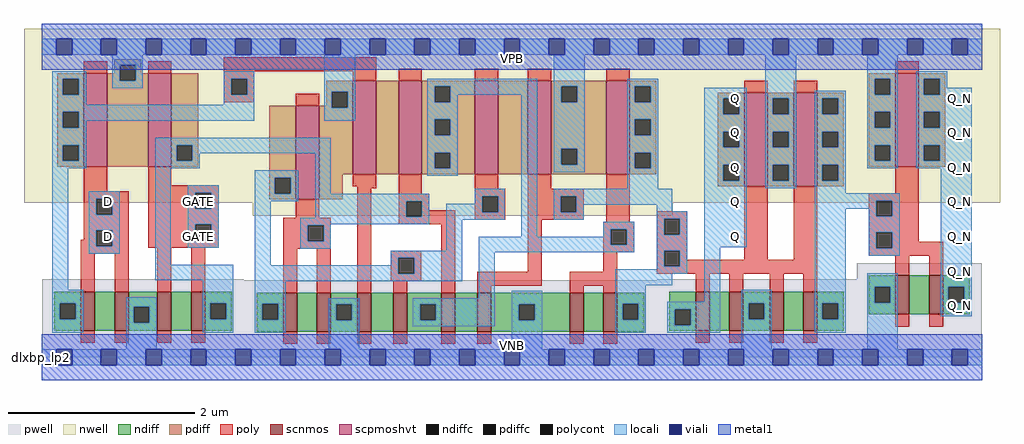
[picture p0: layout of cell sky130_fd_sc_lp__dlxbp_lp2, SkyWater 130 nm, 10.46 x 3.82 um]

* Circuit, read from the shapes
.subckt sky130_fd_sc_lp__dlxbp_lp2 D GATE VGND VNB VPB VPWR Q Q_N
XM1 n1 D n2 VNB sky130_fd_pr__nfet_01v8 w=0.42 l=0.15
XM2 VGND D n1 VNB sky130_fd_pr__nfet_01v8 w=0.42 l=0.15
XM3 n3 GATE VGND VNB sky130_fd_pr__nfet_01v8 w=0.42 l=0.15
XM4 n4 GATE n3 VNB sky130_fd_pr__nfet_01v8 w=0.42 l=0.15
XM5 n5 n4 n6 VNB sky130_fd_pr__nfet_01v8 w=0.42 l=0.15
XM6 VGND n4 n5 VNB sky130_fd_pr__nfet_01v8 w=0.42 l=0.15
XM7 n7 n2 VGND VNB sky130_fd_pr__nfet_01v8 w=0.42 l=0.15
XM8 n8 n6 n7 VNB sky130_fd_pr__nfet_01v8 w=0.42 l=0.15
XM9 n9 n4 n8 VNB sky130_fd_pr__nfet_01v8 w=0.42 l=0.15
XM10 VGND n10 n9 VNB sky130_fd_pr__nfet_01v8 w=0.42 l=0.15
XM11 n11 n8 VGND VNB sky130_fd_pr__nfet_01v8 w=0.42 l=0.15
XM12 n10 n8 n11 VNB sky130_fd_pr__nfet_01v8 w=0.42 l=0.15
XM13 n12 n10 Q VNB sky130_fd_pr__nfet_01v8 w=0.42 l=0.15
XM14 VGND n10 n12 VNB sky130_fd_pr__nfet_01v8 w=0.42 l=0.15
XM15 n13 n10 VGND VNB sky130_fd_pr__nfet_01v8 w=0.42 l=0.15
XM16 n14 n10 n13 VNB sky130_fd_pr__nfet_01v8 w=0.42 l=0.15
XM17 n15 n14 VGND VNB sky130_fd_pr__nfet_01v8 w=0.42 l=0.15
XM18 Q_N n14 n15 VNB sky130_fd_pr__nfet_01v8 w=0.42 l=0.15
XM19 VPWR D n2 VPB sky130_fd_pr__pfet_01v8_hvt w=1 l=0.25
XM20 n4 GATE VPWR VPB sky130_fd_pr__pfet_01v8_hvt w=1 l=0.25
XM21 VPWR n4 n6 VPB sky130_fd_pr__pfet_01v8_hvt w=1 l=0.25
XM22 n16 n2 VPWR VPB sky130_fd_pr__pfet_01v8_hvt w=1 l=0.25
XM23 n8 n4 n16 VPB sky130_fd_pr__pfet_01v8_hvt w=1 l=0.25
XM24 n17 n6 n8 VPB sky130_fd_pr__pfet_01v8_hvt w=1 l=0.25
XM25 VPWR n10 n17 VPB sky130_fd_pr__pfet_01v8_hvt w=1 l=0.25
XM26 n10 n8 VPWR VPB sky130_fd_pr__pfet_01v8_hvt w=1 l=0.25
XM27 VPWR n10 Q VPB sky130_fd_pr__pfet_01v8_hvt w=1 l=0.25
XM28 n14 n10 VPWR VPB sky130_fd_pr__pfet_01v8_hvt w=1 l=0.25
XM29 Q_N n14 VPWR VPB sky130_fd_pr__pfet_01v8_hvt w=1 l=0.25
.ends

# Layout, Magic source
magic
tech sky130A
magscale 1 2
<< nwell >>
rect -38 331 2054 704
rect 452 303 1353 331
<< pwell >>
rect 1747 167 2015 202
rect 1 165 433 167
rect 1319 165 2015 167
rect 1 49 2015 165
rect 0 0 2016 49
<< scnmos >>
rect 84 57 114 141
rect 156 57 186 141
rect 248 57 278 141
rect 320 57 350 141
rect 518 55 548 139
rect 590 55 620 139
rect 676 55 706 139
rect 754 55 784 139
rect 856 55 886 139
rect 934 55 964 139
rect 1132 55 1162 139
rect 1204 55 1234 139
rect 1402 57 1432 141
rect 1474 57 1504 141
rect 1560 57 1590 141
rect 1632 57 1662 141
rect 1830 92 1860 176
rect 1902 92 1932 176
<< scpmoshvt >>
rect 90 409 140 609
rect 228 409 278 609
rect 545 339 595 539
rect 667 393 717 593
rect 765 393 815 593
rect 928 393 978 593
rect 1042 393 1092 593
rect 1210 393 1260 593
rect 1506 367 1556 567
rect 1612 367 1662 567
rect 1830 409 1880 609
<< ndiff >>
rect 27 116 84 141
rect 27 82 39 116
rect 73 82 84 116
rect 27 57 84 82
rect 114 57 156 141
rect 186 108 248 141
rect 186 74 197 108
rect 231 74 248 108
rect 186 57 248 74
rect 278 57 320 141
rect 350 116 407 141
rect 1773 151 1830 176
rect 350 82 361 116
rect 395 82 407 116
rect 350 57 407 82
rect 461 115 518 139
rect 461 81 473 115
rect 507 81 518 115
rect 461 55 518 81
rect 548 55 590 139
rect 620 114 676 139
rect 620 80 631 114
rect 665 80 676 114
rect 620 55 676 80
rect 706 55 754 139
rect 784 114 856 139
rect 784 80 811 114
rect 845 80 856 114
rect 784 55 856 80
rect 886 55 934 139
rect 964 114 1132 139
rect 964 80 1023 114
rect 1057 80 1132 114
rect 964 55 1132 80
rect 1162 55 1204 139
rect 1234 115 1291 139
rect 1234 81 1245 115
rect 1279 81 1291 115
rect 1234 55 1291 81
rect 1345 103 1402 141
rect 1345 69 1357 103
rect 1391 69 1402 103
rect 1345 57 1402 69
rect 1432 57 1474 141
rect 1504 116 1560 141
rect 1504 82 1515 116
rect 1549 82 1560 116
rect 1504 57 1560 82
rect 1590 57 1632 141
rect 1662 116 1719 141
rect 1662 82 1673 116
rect 1707 82 1719 116
rect 1773 117 1785 151
rect 1819 117 1830 151
rect 1773 92 1830 117
rect 1860 92 1902 176
rect 1932 151 1989 176
rect 1932 117 1943 151
rect 1977 117 1989 151
rect 1932 92 1989 117
rect 1662 57 1719 82
<< pdiff >>
rect 155 627 213 639
rect 155 609 167 627
rect 33 597 90 609
rect 33 563 45 597
rect 79 563 90 597
rect 33 526 90 563
rect 33 492 45 526
rect 79 492 90 526
rect 33 455 90 492
rect 33 421 45 455
rect 79 421 90 455
rect 33 409 90 421
rect 140 593 167 609
rect 201 609 213 627
rect 201 593 228 609
rect 140 409 228 593
rect 278 455 335 609
rect 1773 597 1830 609
rect 610 569 667 593
rect 610 539 622 569
rect 278 421 289 455
rect 323 421 335 455
rect 278 409 335 421
rect 488 385 545 539
rect 488 351 500 385
rect 534 351 545 385
rect 488 339 545 351
rect 595 535 622 539
rect 656 535 667 569
rect 595 393 667 535
rect 717 393 765 593
rect 815 581 928 593
rect 815 547 842 581
rect 876 547 928 581
rect 815 510 928 547
rect 815 476 842 510
rect 876 476 928 510
rect 815 439 928 476
rect 815 405 842 439
rect 876 405 928 439
rect 815 393 928 405
rect 978 393 1042 593
rect 1092 581 1210 593
rect 1092 547 1114 581
rect 1148 547 1210 581
rect 1092 447 1210 547
rect 1092 413 1114 447
rect 1148 413 1210 447
rect 1092 393 1210 413
rect 1260 581 1317 593
rect 1260 547 1271 581
rect 1305 547 1317 581
rect 1260 510 1317 547
rect 1260 476 1271 510
rect 1305 476 1317 510
rect 1260 439 1317 476
rect 1260 405 1271 439
rect 1305 405 1317 439
rect 1260 393 1317 405
rect 1449 555 1506 567
rect 1449 521 1461 555
rect 1495 521 1506 555
rect 1449 484 1506 521
rect 1449 450 1461 484
rect 1495 450 1506 484
rect 1449 413 1506 450
rect 595 339 645 393
rect 1449 379 1461 413
rect 1495 379 1506 413
rect 1449 367 1506 379
rect 1556 555 1612 567
rect 1556 521 1567 555
rect 1601 521 1612 555
rect 1556 484 1612 521
rect 1556 450 1567 484
rect 1601 450 1612 484
rect 1556 413 1612 450
rect 1556 379 1567 413
rect 1601 379 1612 413
rect 1556 367 1612 379
rect 1662 555 1719 567
rect 1662 521 1673 555
rect 1707 521 1719 555
rect 1662 484 1719 521
rect 1662 450 1673 484
rect 1707 450 1719 484
rect 1662 413 1719 450
rect 1662 379 1673 413
rect 1707 379 1719 413
rect 1773 563 1785 597
rect 1819 563 1830 597
rect 1773 526 1830 563
rect 1773 492 1785 526
rect 1819 492 1830 526
rect 1773 455 1830 492
rect 1773 421 1785 455
rect 1819 421 1830 455
rect 1773 409 1830 421
rect 1880 597 1937 609
rect 1880 563 1891 597
rect 1925 563 1937 597
rect 1880 526 1937 563
rect 1880 492 1891 526
rect 1925 492 1937 526
rect 1880 455 1937 492
rect 1880 421 1891 455
rect 1925 421 1937 455
rect 1880 409 1937 421
rect 1662 367 1719 379
<< ndiffc >>
rect 39 82 73 116
rect 197 74 231 108
rect 361 82 395 116
rect 473 81 507 115
rect 631 80 665 114
rect 811 80 845 114
rect 1023 80 1057 114
rect 1245 81 1279 115
rect 1357 69 1391 103
rect 1515 82 1549 116
rect 1673 82 1707 116
rect 1785 117 1819 151
rect 1943 117 1977 151
<< pdiffc >>
rect 45 563 79 597
rect 45 492 79 526
rect 45 421 79 455
rect 167 593 201 627
rect 289 421 323 455
rect 500 351 534 385
rect 622 535 656 569
rect 842 547 876 581
rect 842 476 876 510
rect 842 405 876 439
rect 1114 547 1148 581
rect 1114 413 1148 447
rect 1271 547 1305 581
rect 1271 476 1305 510
rect 1271 405 1305 439
rect 1461 521 1495 555
rect 1461 450 1495 484
rect 1461 379 1495 413
rect 1567 521 1601 555
rect 1567 450 1601 484
rect 1567 379 1601 413
rect 1673 521 1707 555
rect 1673 450 1707 484
rect 1673 379 1707 413
rect 1785 563 1819 597
rect 1785 492 1819 526
rect 1785 421 1819 455
rect 1891 563 1925 597
rect 1891 492 1925 526
rect 1891 421 1925 455
<< poly >>
rect 90 609 140 635
rect 228 609 278 635
rect 390 613 717 643
rect 390 597 456 613
rect 390 563 406 597
rect 440 563 456 597
rect 667 593 717 613
rect 765 593 815 619
rect 928 593 978 619
rect 1042 593 1092 619
rect 1210 593 1260 619
rect 1830 609 1880 635
rect 390 547 456 563
rect 545 539 595 565
rect 90 356 140 409
rect 228 369 278 409
rect 90 340 186 356
rect 90 306 117 340
rect 151 306 186 340
rect 90 272 186 306
rect 90 252 117 272
rect 84 238 117 252
rect 151 238 186 272
rect 84 222 186 238
rect 228 353 379 369
rect 228 319 329 353
rect 363 319 379 353
rect 1506 567 1556 593
rect 1612 567 1662 593
rect 667 367 717 393
rect 676 362 717 367
rect 228 285 379 319
rect 545 299 595 339
rect 228 251 329 285
rect 363 251 379 285
rect 228 235 379 251
rect 518 283 620 299
rect 518 249 570 283
rect 604 249 620 283
rect 84 141 114 222
rect 156 141 186 222
rect 248 141 278 235
rect 320 141 350 235
rect 518 233 620 249
rect 518 139 548 233
rect 590 139 620 233
rect 676 139 706 362
rect 765 351 815 393
rect 928 361 978 393
rect 1042 361 1092 393
rect 765 335 831 351
rect 765 301 781 335
rect 815 315 831 335
rect 928 345 994 361
rect 815 301 886 315
rect 765 285 886 301
rect 928 311 944 345
rect 978 311 994 345
rect 928 295 994 311
rect 1042 345 1162 361
rect 1042 311 1112 345
rect 1146 311 1162 345
rect 1042 295 1162 311
rect 748 213 814 229
rect 748 179 764 213
rect 798 179 814 213
rect 748 163 814 179
rect 754 139 784 163
rect 856 139 886 285
rect 1042 184 1072 295
rect 1210 291 1260 393
rect 1318 297 1384 313
rect 1204 275 1270 291
rect 1204 241 1220 275
rect 1254 241 1270 275
rect 1204 225 1270 241
rect 1318 263 1334 297
rect 1368 263 1384 297
rect 1318 229 1384 263
rect 1204 184 1234 225
rect 934 154 1072 184
rect 1132 154 1234 184
rect 1318 195 1334 229
rect 1368 209 1384 229
rect 1506 209 1556 367
rect 1612 209 1662 367
rect 1830 352 1880 409
rect 1773 336 1880 352
rect 1773 302 1789 336
rect 1823 302 1880 336
rect 1773 268 1880 302
rect 1773 234 1789 268
rect 1823 248 1880 268
rect 1823 234 1932 248
rect 1773 218 1932 234
rect 1368 195 1662 209
rect 1318 179 1662 195
rect 934 139 964 154
rect 1132 139 1162 154
rect 1204 139 1234 154
rect 1402 141 1432 179
rect 1474 141 1504 179
rect 1560 141 1590 179
rect 1632 141 1662 179
rect 1830 176 1860 218
rect 1902 176 1932 218
rect 84 31 114 57
rect 156 31 186 57
rect 248 31 278 57
rect 320 31 350 57
rect 1830 66 1860 92
rect 1902 66 1932 92
rect 518 29 548 55
rect 590 29 620 55
rect 676 29 706 55
rect 754 29 784 55
rect 856 29 886 55
rect 934 29 964 55
rect 1132 29 1162 55
rect 1204 29 1234 55
rect 1402 31 1432 57
rect 1474 31 1504 57
rect 1560 31 1590 57
rect 1632 31 1662 57
<< polycont >>
rect 406 563 440 597
rect 117 306 151 340
rect 117 238 151 272
rect 329 319 363 353
rect 329 251 363 285
rect 570 249 604 283
rect 781 301 815 335
rect 944 311 978 345
rect 1112 311 1146 345
rect 764 179 798 213
rect 1220 241 1254 275
rect 1334 263 1368 297
rect 1334 195 1368 229
rect 1789 302 1823 336
rect 1789 234 1823 268
<< locali >>
rect 0 649 31 683
rect 65 649 127 683
rect 161 649 223 683
rect 257 649 319 683
rect 353 649 415 683
rect 449 649 511 683
rect 545 649 607 683
rect 641 649 703 683
rect 737 649 799 683
rect 833 649 895 683
rect 929 649 991 683
rect 1025 649 1087 683
rect 1121 649 1183 683
rect 1217 649 1279 683
rect 1313 649 1375 683
rect 1409 649 1471 683
rect 1505 649 1567 683
rect 1601 649 1663 683
rect 1697 649 1759 683
rect 1793 649 1855 683
rect 1889 649 1951 683
rect 1985 649 2016 683
rect 151 627 217 649
rect 23 597 95 613
rect 23 563 45 597
rect 79 563 95 597
rect 151 593 167 627
rect 201 593 217 627
rect 151 577 217 593
rect 390 597 456 613
rect 23 541 95 563
rect 390 563 406 597
rect 440 563 456 597
rect 390 541 456 563
rect 23 526 456 541
rect 23 492 45 526
rect 79 507 456 526
rect 606 569 672 649
rect 606 535 622 569
rect 656 535 672 569
rect 606 507 672 535
rect 826 581 1062 597
rect 826 547 842 581
rect 876 563 1062 581
rect 876 547 892 563
rect 826 510 892 547
rect 79 492 95 507
rect 23 455 95 492
rect 826 476 842 510
rect 876 476 892 510
rect 23 421 45 455
rect 79 421 95 455
rect 23 405 95 421
rect 243 455 620 471
rect 243 421 289 455
rect 323 437 620 455
rect 323 421 339 437
rect 243 405 339 421
rect 23 145 57 405
rect 101 340 167 356
rect 101 306 117 340
rect 151 306 167 340
rect 101 272 167 306
rect 101 238 117 272
rect 151 238 167 272
rect 101 222 167 238
rect 243 199 277 405
rect 457 385 550 401
rect 313 353 379 369
rect 313 319 329 353
rect 363 319 379 353
rect 313 285 379 319
rect 313 251 329 285
rect 363 251 379 285
rect 313 235 379 251
rect 457 351 500 385
rect 534 351 550 385
rect 457 335 550 351
rect 586 351 620 437
rect 826 439 892 476
rect 826 405 842 439
rect 876 405 892 439
rect 826 389 892 405
rect 586 335 831 351
rect 243 165 411 199
rect 23 116 89 145
rect 23 82 39 116
rect 73 82 89 116
rect 23 53 89 82
rect 181 108 247 129
rect 181 74 197 108
rect 231 74 247 108
rect 181 17 247 74
rect 345 116 411 165
rect 345 82 361 116
rect 395 82 411 116
rect 345 53 411 82
rect 457 197 491 335
rect 586 301 781 335
rect 815 301 831 335
rect 928 345 992 361
rect 928 329 944 345
rect 586 299 831 301
rect 554 285 831 299
rect 867 311 944 329
rect 978 311 992 345
rect 867 295 992 311
rect 554 283 620 285
rect 554 249 570 283
rect 604 249 620 283
rect 554 233 620 249
rect 867 229 901 295
rect 1028 259 1062 563
rect 1098 581 1164 649
rect 1098 547 1114 581
rect 1148 547 1164 581
rect 1098 447 1164 547
rect 1098 413 1114 447
rect 1148 413 1164 447
rect 1098 397 1164 413
rect 1255 581 1321 597
rect 1255 547 1271 581
rect 1305 547 1321 581
rect 1255 510 1321 547
rect 1255 476 1271 510
rect 1305 476 1321 510
rect 1255 439 1321 476
rect 1255 405 1271 439
rect 1305 405 1321 439
rect 1255 361 1321 405
rect 1420 555 1511 578
rect 1420 521 1461 555
rect 1495 521 1511 555
rect 1420 484 1511 521
rect 1420 450 1461 484
rect 1495 450 1511 484
rect 1420 413 1511 450
rect 1420 379 1461 413
rect 1495 379 1511 413
rect 1098 345 1352 361
rect 1098 311 1112 345
rect 1146 327 1352 345
rect 1146 311 1162 327
rect 1098 295 1162 311
rect 1318 313 1352 327
rect 1318 297 1384 313
rect 1204 275 1270 291
rect 1204 259 1220 275
rect 748 213 901 229
rect 748 197 764 213
rect 457 179 764 197
rect 798 179 901 213
rect 457 163 901 179
rect 937 241 1220 259
rect 1254 241 1270 275
rect 937 225 1270 241
rect 1318 263 1334 297
rect 1368 263 1384 297
rect 1318 229 1384 263
rect 457 115 523 163
rect 937 127 971 225
rect 1318 195 1334 229
rect 1368 195 1384 229
rect 1318 189 1384 195
rect 1229 179 1384 189
rect 1420 236 1511 379
rect 1551 555 1617 649
rect 1769 597 1835 649
rect 1551 521 1567 555
rect 1601 521 1617 555
rect 1551 484 1617 521
rect 1551 450 1567 484
rect 1601 450 1617 484
rect 1551 413 1617 450
rect 1551 379 1567 413
rect 1601 379 1617 413
rect 1551 363 1617 379
rect 1657 555 1723 571
rect 1657 521 1673 555
rect 1707 521 1723 555
rect 1657 484 1723 521
rect 1657 450 1673 484
rect 1707 450 1723 484
rect 1657 413 1723 450
rect 1657 379 1673 413
rect 1707 379 1723 413
rect 1769 563 1785 597
rect 1819 563 1835 597
rect 1769 526 1835 563
rect 1769 492 1785 526
rect 1819 492 1835 526
rect 1769 455 1835 492
rect 1769 421 1785 455
rect 1819 421 1835 455
rect 1769 405 1835 421
rect 1875 597 1941 613
rect 1875 563 1891 597
rect 1925 578 1941 597
rect 1925 563 1993 578
rect 1875 526 1993 563
rect 1875 492 1891 526
rect 1925 492 1993 526
rect 1875 455 1993 492
rect 1875 421 1891 455
rect 1925 421 1993 455
rect 1875 405 1993 421
rect 1657 352 1723 379
rect 1657 336 1839 352
rect 1657 318 1789 336
rect 1229 155 1352 179
rect 457 81 473 115
rect 507 81 523 115
rect 457 53 523 81
rect 615 114 681 127
rect 615 80 631 114
rect 665 80 681 114
rect 615 17 681 80
rect 795 114 971 127
rect 795 80 811 114
rect 845 80 971 114
rect 795 67 971 80
rect 1007 114 1073 143
rect 1007 80 1023 114
rect 1057 80 1073 114
rect 1007 17 1073 80
rect 1229 115 1295 155
rect 1420 119 1454 236
rect 1229 81 1245 115
rect 1279 81 1295 115
rect 1229 53 1295 81
rect 1341 103 1454 119
rect 1341 69 1357 103
rect 1391 69 1454 103
rect 1341 53 1454 69
rect 1499 116 1565 145
rect 1499 82 1515 116
rect 1549 82 1565 116
rect 1499 17 1565 82
rect 1657 116 1723 318
rect 1773 302 1789 318
rect 1823 302 1839 336
rect 1773 268 1839 302
rect 1773 234 1789 268
rect 1823 234 1839 268
rect 1773 218 1839 234
rect 1657 82 1673 116
rect 1707 82 1723 116
rect 1657 53 1723 82
rect 1769 151 1835 180
rect 1769 117 1785 151
rect 1819 117 1835 151
rect 1769 17 1835 117
rect 1927 151 1993 405
rect 1927 117 1943 151
rect 1977 117 1993 151
rect 1927 88 1993 117
rect 0 -17 31 17
rect 65 -17 127 17
rect 161 -17 223 17
rect 257 -17 319 17
rect 353 -17 415 17
rect 449 -17 511 17
rect 545 -17 607 17
rect 641 -17 703 17
rect 737 -17 799 17
rect 833 -17 895 17
rect 929 -17 991 17
rect 1025 -17 1087 17
rect 1121 -17 1183 17
rect 1217 -17 1279 17
rect 1313 -17 1375 17
rect 1409 -17 1471 17
rect 1505 -17 1567 17
rect 1601 -17 1663 17
rect 1697 -17 1759 17
rect 1793 -17 1855 17
rect 1889 -17 1951 17
rect 1985 -17 2016 17
<< viali >>
rect 31 649 65 683
rect 127 649 161 683
rect 223 649 257 683
rect 319 649 353 683
rect 415 649 449 683
rect 511 649 545 683
rect 607 649 641 683
rect 703 649 737 683
rect 799 649 833 683
rect 895 649 929 683
rect 991 649 1025 683
rect 1087 649 1121 683
rect 1183 649 1217 683
rect 1279 649 1313 683
rect 1375 649 1409 683
rect 1471 649 1505 683
rect 1567 649 1601 683
rect 1663 649 1697 683
rect 1759 649 1793 683
rect 1855 649 1889 683
rect 1951 649 1985 683
rect 31 -17 65 17
rect 127 -17 161 17
rect 223 -17 257 17
rect 319 -17 353 17
rect 415 -17 449 17
rect 511 -17 545 17
rect 607 -17 641 17
rect 703 -17 737 17
rect 799 -17 833 17
rect 895 -17 929 17
rect 991 -17 1025 17
rect 1087 -17 1121 17
rect 1183 -17 1217 17
rect 1279 -17 1313 17
rect 1375 -17 1409 17
rect 1471 -17 1505 17
rect 1567 -17 1601 17
rect 1663 -17 1697 17
rect 1759 -17 1793 17
rect 1855 -17 1889 17
rect 1951 -17 1985 17
<< metal1 >>
rect 0 683 2016 715
rect 0 649 31 683
rect 65 649 127 683
rect 161 649 223 683
rect 257 649 319 683
rect 353 649 415 683
rect 449 649 511 683
rect 545 649 607 683
rect 641 649 703 683
rect 737 649 799 683
rect 833 649 895 683
rect 929 649 991 683
rect 1025 649 1087 683
rect 1121 649 1183 683
rect 1217 649 1279 683
rect 1313 649 1375 683
rect 1409 649 1471 683
rect 1505 649 1567 683
rect 1601 649 1663 683
rect 1697 649 1759 683
rect 1793 649 1855 683
rect 1889 649 1951 683
rect 1985 649 2016 683
rect 0 617 2016 649
rect 0 17 2016 49
rect 0 -17 31 17
rect 65 -17 127 17
rect 161 -17 223 17
rect 257 -17 319 17
rect 353 -17 415 17
rect 449 -17 511 17
rect 545 -17 607 17
rect 641 -17 703 17
rect 737 -17 799 17
rect 833 -17 895 17
rect 929 -17 991 17
rect 1025 -17 1087 17
rect 1121 -17 1183 17
rect 1217 -17 1279 17
rect 1313 -17 1375 17
rect 1409 -17 1471 17
rect 1505 -17 1567 17
rect 1601 -17 1663 17
rect 1697 -17 1759 17
rect 1793 -17 1855 17
rect 1889 -17 1951 17
rect 1985 -17 2016 17
rect 0 -49 2016 -17
<< labels >>
flabel pwell s 0 0 2016 49 0 FreeSans 200 0 0 0 VNB
port 4 nsew ground bidirectional
flabel nwell s 0 617 2016 666 0 FreeSans 200 0 0 0 VPB
port 5 nsew power bidirectional
rlabel comment s 0 0 0 0 4 dlxbp_lp2
flabel metal1 s 0 617 2016 666 0 FreeSans 340 0 0 0 VPWR
port 6 nsew power bidirectional
flabel metal1 s 0 0 2016 49 0 FreeSans 340 0 0 0 VGND
port 3 nsew ground bidirectional
flabel locali s 319 242 353 276 0 FreeSans 340 0 0 0 GATE
port 2 nsew clock input
flabel locali s 319 316 353 350 0 FreeSans 340 0 0 0 GATE
port 2 nsew clock input
flabel locali s 127 242 161 276 0 FreeSans 340 0 0 0 D
port 1 nsew signal input
flabel locali s 127 316 161 350 0 FreeSans 340 0 0 0 D
port 1 nsew signal input
flabel locali s 1471 242 1505 276 0 FreeSans 340 0 0 0 Q
port 7 nsew signal output
flabel locali s 1471 316 1505 350 0 FreeSans 340 0 0 0 Q
port 7 nsew signal output
flabel locali s 1471 390 1505 424 0 FreeSans 340 0 0 0 Q
port 7 nsew signal output
flabel locali s 1471 464 1505 498 0 FreeSans 340 0 0 0 Q
port 7 nsew signal output
flabel locali s 1471 538 1505 572 0 FreeSans 340 0 0 0 Q
port 7 nsew signal output
flabel locali s 1951 94 1985 128 0 FreeSans 340 0 0 0 Q_N
port 8 nsew signal output
flabel locali s 1951 168 1985 202 0 FreeSans 340 0 0 0 Q_N
port 8 nsew signal output
flabel locali s 1951 242 1985 276 0 FreeSans 340 0 0 0 Q_N
port 8 nsew signal output
flabel locali s 1951 316 1985 350 0 FreeSans 340 0 0 0 Q_N
port 8 nsew signal output
flabel locali s 1951 390 1985 424 0 FreeSans 340 0 0 0 Q_N
port 8 nsew signal output
flabel locali s 1951 464 1985 498 0 FreeSans 340 0 0 0 Q_N
port 8 nsew signal output
flabel locali s 1951 538 1985 572 0 FreeSans 340 0 0 0 Q_N
port 8 nsew signal output
<< properties >>
string LEFsite unit
string LEFclass CORE
string FIXED_BBOX 0 0 2016 666
string GDS_FILE $PDKPATH/libs.ref/sky130_fd_sc_lp/gds/sky130_fd_sc_lp.gds
string LEFsymmetry X Y R90
string GDS_END 2280324
string GDS_START 2266002
<< end >>
